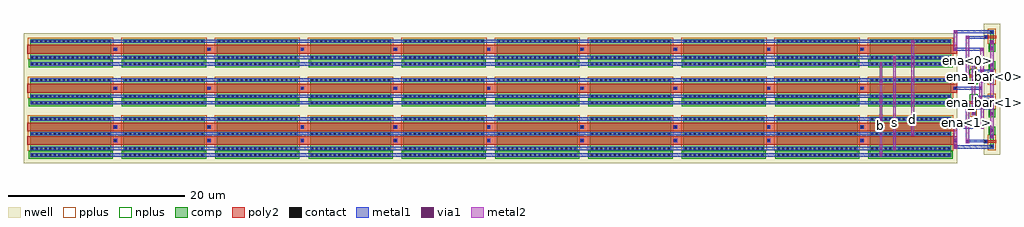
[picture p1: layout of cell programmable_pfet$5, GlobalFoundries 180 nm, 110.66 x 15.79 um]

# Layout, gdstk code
from math import pi, radians
import gdstk
lib = gdstk.Library(unit=1e-6, precision=5e-09)
def R(c, l, rs):  # rectangles x0, y0, x1, y1
    for r in rs: c.add(gdstk.rectangle(r[:2], r[2:], *l))
def A(c, l, x, y, w, h, nx, ny, dx, dy):  # array of equal rectangles
    R(c, l, [(x+i*dx, y+j*dy, x+i*dx+w, y+j*dy+h) for i in range(nx) for j in range(ny)])
nwell = (21, 0)
comp = (22, 0)
poly2 = (30, 0)
pplus = (31, 0)
nplus = (32, 0)
contact = (33, 0)
metal1 = (34, 0)
via1 = (35, 0)
metal2 = (36, 0)

pfet_117 = lib.new_cell('pfet$117')
R(pfet_117, nwell, [(-1.15,-0.69,3.26,9.89)])
R(pfet_117, comp, [(-0.46,0,0,9.2), (0,0,1.38,9.2), (1.38,0,1.84,9.2), (1.84,0,2.57,9.2)])
R(pfet_117, poly2, [(0.19,-0.3,1.19,9.5), (0.19,9.5,1.19,9.88)])
R(pfet_117, pplus, [(-0.63,-0.24,1.84,9.44)])
R(pfet_117, nplus, [(1.84,-0.17,2.74,9.37)])
A(pfet_117, contact, -0.34, 0.155, 0.22, 0.22, 1, 18, 0, 0.51)
A(pfet_117, contact, 1.5, 0.155, 0.22, 0.22, 1, 18, 0, 0.51)
A(pfet_117, contact, 2.23, 0.155, 0.22, 0.22, 1, 18, 0, 0.51)
R(pfet_117, contact, [(0.58,9.58,0.8,9.8)])
R(pfet_117, metal1, [(-0.42,0.075,-0.04,9.125), (1.42,0.075,1.8,9.125), (2.15,0.075,2.53,9.125), (0.5,9.5,0.88,9.88)])

pfet_118 = lib.new_cell('pfet$118')
R(pfet_118, nwell, [(-1.15,-0.69,4.78,9.89)])
R(pfet_118, comp, [(-0.46,0,0,9.2), (0,0,2.9,9.2), (2.9,0,3.36,9.2), (3.36,0,4.09,9.2)])
R(pfet_118, poly2, [(0.19,-0.3,1.19,9.5), (1.71,-0.3,2.71,9.5), (0.19,9.5,1.19,9.88), (1.71,9.5,2.71,9.88)])
R(pfet_118, pplus, [(-0.63,-0.24,3.36,9.44)])
R(pfet_118, nplus, [(3.36,-0.17,4.26,9.37)])
A(pfet_118, contact, -0.34, 0.155, 0.22, 0.22, 3, 18, 1.68, 0.51)
A(pfet_118, contact, 3.75, 0.155, 0.22, 0.22, 1, 18, 0, 0.51)
R(pfet_118, contact, [(0.58,9.58,0.8,9.8), (2.1,9.58,2.32,9.8)])
A(pfet_118, metal1, -0.42, 0.075, 0.38, 9.05, 3, 1, 1.68, 0)
R(pfet_118, metal1, [(3.67,0.075,4.05,9.125), (0.5,9.5,0.88,9.88), (2.02,9.5,2.4,9.88)])

pfet_119 = lib.new_cell('pfet$119')
R(pfet_119, nwell, [(-1.16,-0.71,2.55,1.13)])
R(pfet_119, comp, [(-0.46,-0.01,0,0.43), (0.66,-0.01,1.12,0.43), (1.12,-0.01,1.85,0.43), (0,0,0.66,0.42)])
R(pfet_119, poly2, [(0.19,-0.3,0.47,0.72), (0.14,0.72,0.52,1.1)])
R(pfet_119, pplus, [(-0.63,-0.25,1.12,0.67)])
R(pfet_119, nplus, [(1.12,-0.17,2.02,0.59)])
R(pfet_119, contact, [(-0.34,0.1,-0.12,0.32), (0.78,0.1,1,0.32), (1.51,0.1,1.73,0.32), (0.22,0.8,0.44,1.02)])
R(pfet_119, metal1, [(-0.42,0.02,-0.04,0.4), (0.7,0.02,1.08,0.4), (1.43,0.02,1.81,0.4), (0.14,0.72,0.52,1.1)])

nfet_116 = lib.new_cell('nfet$116')
R(nfet_116, comp, [(-0.42,-0.01,0,0.43), (0.66,-0.01,1.08,0.43), (1.08,-0.01,1.79,0.43), (0,0,0.66,0.42)])
R(nfet_116, poly2, [(0.19,-0.3,0.47,0.72), (0.15,0.72,0.51,1.08)])
R(nfet_116, pplus, [(1.08,-0.17,1.96,0.59)])
R(nfet_116, nplus, [(-0.59,-0.25,1.08,0.67)])
R(nfet_116, contact, [(-0.32,0.1,-0.1,0.32), (0.76,0.1,0.98,0.32), (1.47,0.1,1.69,0.32), (0.22,0.79,0.44,1.01)])
R(nfet_116, metal1, [(-0.4,0.02,-0.02,0.4), (0.68,0.02,1.06,0.4), (1.39,0.02,1.77,0.4), (0.14,0.71,0.52,1.09)])

pfet_120 = lib.new_cell('pfet$120')

pfet_121 = lib.new_cell('pfet$121')
R(pfet_121, nwell, [(-1.16,-0.71,2.55,1.13)])
R(pfet_121, comp, [(-0.46,-0.01,0,0.43), (0.66,-0.01,1.12,0.43), (1.12,-0.01,1.85,0.43), (0,0,0.66,0.42)])
R(pfet_121, poly2, [(0.19,-0.3,0.47,0.72), (0.14,0.72,0.52,1.1)])
R(pfet_121, pplus, [(-0.63,-0.25,1.12,0.67)])
R(pfet_121, nplus, [(1.12,-0.17,2.02,0.59)])
R(pfet_121, contact, [(-0.34,0.1,-0.12,0.32), (0.78,0.1,1,0.32), (1.51,0.1,1.73,0.32), (0.22,0.8,0.44,1.02)])
R(pfet_121, metal1, [(-0.42,0.02,-0.04,0.4), (0.7,0.02,1.08,0.4), (1.43,0.02,1.81,0.4), (0.14,0.72,0.52,1.1)])

transmission_gate_30 = lib.new_cell('transmission_gate$30')
R(transmission_gate_30, metal1, [(-1.54,-0.6,0.915,-0.225), (-1.54,0.48,0.915,0.895)])
transmission_gate_30.add(gdstk.Reference(nfet_116, (0.515,0.46), rotation=3*pi/2))
transmission_gate_30.add(gdstk.Reference(pfet_120, (-1.075,0.09), rotation=3*pi/2))
transmission_gate_30.add(gdstk.Reference(pfet_120, (-0.98,0.115), rotation=3*pi/2))
transmission_gate_30.add(gdstk.Reference(pfet_120, (-0.925,-0.105), rotation=3*pi/2))
transmission_gate_30.add(gdstk.Reference(pfet_120, (-1.045,0.115), rotation=3*pi/2))
transmission_gate_30.add(gdstk.Reference(pfet_120, (-3.895,0.255), rotation=3*pi/2))
transmission_gate_30.add(gdstk.Reference(pfet_120, (-4.225,0.69), rotation=3*pi/2))
transmission_gate_30.add(gdstk.Reference(pfet_120, (-3.75,0.445), rotation=3*pi/2))
transmission_gate_30.add(gdstk.Reference(pfet_120, (-4.065,-0.635), rotation=3*pi/2))
transmission_gate_30.add(gdstk.Reference(pfet_120, (-4.08,-0.7), rotation=3*pi/2))
transmission_gate_30.add(gdstk.Reference(pfet_120, (-4.065,-0.57), rotation=3*pi/2))
transmission_gate_30.add(gdstk.Reference(pfet_120, (-1.45,0.065), rotation=3*pi/2))
transmission_gate_30.add(gdstk.Reference(pfet_120, (-1.48,0.125), rotation=3*pi/2))
transmission_gate_30.add(gdstk.Reference(pfet_120, (-1.645,0.065), rotation=3*pi/2))
transmission_gate_30.add(gdstk.Reference(pfet_120, (-0.11,-0.01), rotation=3*pi/2))
transmission_gate_30.add(gdstk.Reference(pfet_120, (-0.335,0.205), rotation=3*pi/2))
transmission_gate_30.add(gdstk.Reference(pfet_120, (-1.17,0.295), rotation=3*pi/2))
transmission_gate_30.add(gdstk.Reference(pfet_121, (-1.14,0.475), rotation=3*pi/2, x_reflection=True))
transmission_gate_30.add(gdstk.Label('in', (-0.32,0.68), layer=34, texttype=10))
transmission_gate_30.add(gdstk.Label('out', (-0.345,-0.395), layer=34, texttype=10))
transmission_gate_30.add(gdstk.Label('VDD', (-1.36,-1.17), layer=34, texttype=10))
transmission_gate_30.add(gdstk.Label('VSS', (0.72,-1.135), layer=34, texttype=10))
transmission_gate_30.add(gdstk.Label('ena_bar', (-2.055,0.15), layer=34, texttype=10))
transmission_gate_30.add(gdstk.Label('ena', (1.385,0.1), layer=34, texttype=10))

pfet_122 = lib.new_cell('pfet$122')
R(pfet_122, nwell, [(-1.16,-0.71,2.55,1.13)])
R(pfet_122, comp, [(-0.46,-0.01,0,0.43), (0.66,-0.01,1.12,0.43), (1.12,-0.01,1.85,0.43), (0,0,0.66,0.42)])
R(pfet_122, poly2, [(0.14,-0.68,0.52,-0.3), (0.19,-0.3,0.47,0.72)])
R(pfet_122, pplus, [(-0.63,-0.25,1.12,0.67)])
R(pfet_122, nplus, [(1.12,-0.17,2.02,0.59)])
R(pfet_122, contact, [(0.22,-0.6,0.44,-0.38), (-0.34,0.1,-0.12,0.32), (0.78,0.1,1,0.32), (1.51,0.1,1.73,0.32)])
R(pfet_122, metal1, [(0.14,-0.68,0.52,-0.3), (-0.42,0.02,-0.04,0.4), (0.7,0.02,1.08,0.4), (1.43,0.02,1.81,0.4)])

programmable_pfet_5 = lib.new_cell('programmable_pfet$5')
A(programmable_pfet_5, poly2, -77.025, 2.905, 85.04, 1, 1, 3, 0, 4.41)
R(programmable_pfet_5, poly2, [(-77.025,1.385,8.015,2.385)])
A(programmable_pfet_5, metal1, -77.78, 0.775, 86.17, 0.38, 1, 3, 0, 1.68)
A(programmable_pfet_5, metal1, -77.78, 6.705, 86.17, 0.38, 1, 3, 0, 1.84)
R(programmable_pfet_5, metal1, [(-77.78,0.045,8.39,0.425), (17.8,0.965,21.955,1.335), (21.955,0.965,22.335,1.395), (19.19,1.67,21.255,1.955), (17.815,3.215,21.225,3.595), (-77.78,5.975,8.39,6.355), (17.815,7.625,21.08,8.005), (-77.78,11.115,8.39,11.495), (17.805,12.035,21.215,12.415), (-77.78,12.955,8.39,13.335), (19.19,13.43,21.255,13.715), (17.8,14.04,21.955,14.37)])
R(programmable_pfet_5, via1, [(9.44,0.14,9.7,0.4), (10.98,0.86,11.24,1.12), (17.855,1.01,18.115,1.27), (19.285,1.67,19.545,1.93), (17.87,1.76,18.13,2.02), (22.015,2.2,22.275,2.46), (13.035,2.51,13.295,2.77), (22.015,2.92,22.275,3.18), (17.875,3.275,18.135,3.535), (17.875,3.275,18.135,3.535), (20.91,3.285,21.17,3.545), (10.98,4.175,11.24,4.435), (22.01,4.785,22.27,5.045), (19.935,4.805,20.195,5.065), (20.91,5.52,21.17,5.78), (9.445,6.035,9.705,6.295), (19.25,6.06,19.51,6.32), (20.795,6.625,21.055,6.885), (10.98,6.765,11.24,7.025), (20.795,7.685,21.055,7.945), (20.8,8.515,21.06,8.775), (13.035,8.605,13.295,8.865), (19.24,9.075,19.5,9.335), (20.875,9.61,21.135,9.87), (19.94,10.315,20.2,10.575), (22.015,10.345,22.275,10.605), (9.445,10.44,9.705,10.7), (10.975,11.17,11.235,11.43), (20.895,12.07,21.155,12.33), (17.875,12.085,18.135,12.345), (22.015,12.205,22.275,12.465), (22.015,12.935,22.275,13.195), (13.045,13.01,13.305,13.27), (19.25,13.44,19.51,13.7), (17.875,14.075,18.135,14.335)])
R(programmable_pfet_5, metal2, [(9.42,0.08,9.72,10.765), (10.96,0.8,11.26,11.495), (17.8,0.965,18.195,3.6), (19.19,1.595,19.57,6.38), (21.955,2.135,22.335,13.25), (13.015,2.45,13.315,13.335), (20.86,3.215,21.225,5.835), (19.88,4.75,20.26,10.635), (20.74,6.54,21.08,8.845), (19.19,9,19.57,13.785), (20.83,9.55,21.195,12.425), (17.8,12.035,18.195,14.37)])
programmable_pfet_5.add(gdstk.Reference(pfet_117, (-2.265,8.505), rotation=3*pi/2))
programmable_pfet_5.add(gdstk.Reference(pfet_117, (8.315,8.505), rotation=3*pi/2))
programmable_pfet_5.add(gdstk.Reference(pfet_117, (-34.005,8.505), rotation=3*pi/2))
programmable_pfet_5.add(gdstk.Reference(pfet_117, (-23.425,8.505), rotation=3*pi/2))
programmable_pfet_5.add(gdstk.Reference(pfet_117, (-12.845,8.505), rotation=3*pi/2))
programmable_pfet_5.add(gdstk.Reference(pfet_118, (8.315,4.095), rotation=3*pi/2))
programmable_pfet_5.add(gdstk.Reference(pfet_118, (-2.265,4.095), rotation=3*pi/2))
programmable_pfet_5.add(gdstk.Reference(pfet_118, (-12.845,4.095), rotation=3*pi/2))
programmable_pfet_5.add(gdstk.Reference(pfet_118, (-23.425,4.095), rotation=3*pi/2))
programmable_pfet_5.add(gdstk.Reference(pfet_118, (-34.005,4.095), rotation=3*pi/2))
programmable_pfet_5.add(gdstk.Reference(pfet_118, (-44.585,4.095), rotation=3*pi/2))
programmable_pfet_5.add(gdstk.Reference(pfet_118, (-55.165,4.095), rotation=3*pi/2))
programmable_pfet_5.add(gdstk.Reference(pfet_118, (-65.745,4.095), rotation=3*pi/2))
programmable_pfet_5.add(gdstk.Reference(pfet_118, (-76.325,4.095), rotation=3*pi/2))
programmable_pfet_5.add(gdstk.Reference(pfet_118, (-86.905,4.095), rotation=3*pi/2))
programmable_pfet_5.add(gdstk.Reference(pfet_117, (-55.165,8.505), rotation=3*pi/2))
programmable_pfet_5.add(gdstk.Reference(pfet_117, (-44.585,8.505), rotation=3*pi/2))
programmable_pfet_5.add(gdstk.Reference(pfet_117, (-86.905,8.505), rotation=3*pi/2))
programmable_pfet_5.add(gdstk.Reference(pfet_117, (-76.325,8.505), rotation=3*pi/2))
programmable_pfet_5.add(gdstk.Reference(pfet_117, (-65.745,8.505), rotation=3*pi/2))
programmable_pfet_5.add(gdstk.Reference(pfet_117, (-65.745,12.915), rotation=3*pi/2))
programmable_pfet_5.add(gdstk.Reference(pfet_117, (-76.325,12.915), rotation=3*pi/2))
programmable_pfet_5.add(gdstk.Reference(pfet_117, (-86.905,12.915), rotation=3*pi/2))
programmable_pfet_5.add(gdstk.Reference(pfet_117, (-44.585,12.915), rotation=3*pi/2))
programmable_pfet_5.add(gdstk.Reference(pfet_117, (-55.165,12.915), rotation=3*pi/2))
programmable_pfet_5.add(gdstk.Reference(pfet_117, (-12.845,12.915), rotation=3*pi/2))
programmable_pfet_5.add(gdstk.Reference(pfet_117, (-23.425,12.915), rotation=3*pi/2))
programmable_pfet_5.add(gdstk.Reference(pfet_117, (-34.005,12.915), rotation=3*pi/2))
programmable_pfet_5.add(gdstk.Reference(pfet_117, (8.315,12.915), rotation=3*pi/2))
programmable_pfet_5.add(gdstk.Reference(pfet_117, (-2.265,12.915), rotation=3*pi/2))
programmable_pfet_5.add(gdstk.Reference(pfet_119, (22.355,1.43), rotation=pi/2))
programmable_pfet_5.add(gdstk.Reference(transmission_gate_30, (20.795,9.325), rotation=pi))
programmable_pfet_5.add(gdstk.Reference(pfet_122, (21.935,13.95), rotation=3*pi/2))
programmable_pfet_5.add(gdstk.Reference(transmission_gate_30, (20.795,6.055), rotation=pi, x_reflection=True))
programmable_pfet_5.add(gdstk.Label('ena_bar<1>', (22.82,6.185), layer=34, texttype=10))
programmable_pfet_5.add(gdstk.Label('ena_bar<0>', (22.735,9.13), layer=34, texttype=10))
programmable_pfet_5.add(gdstk.Label('g', (20.86,7.74), layer=36, texttype=10))
programmable_pfet_5.add(gdstk.Label('ena<0>', (19.395,10.905), layer=36, texttype=10))
programmable_pfet_5.add(gdstk.Label('ena<1>', (19.26,3.95), layer=36, texttype=10))
programmable_pfet_5.add(gdstk.Label('b', (9.51,3.6), layer=36, texttype=10))
programmable_pfet_5.add(gdstk.Label('s', (11.145,3.9), layer=36, texttype=10))
programmable_pfet_5.add(gdstk.Label('d', (13.19,4.315), layer=36, texttype=10))

lib.write_gds('programmable_pfet_5.gds')
